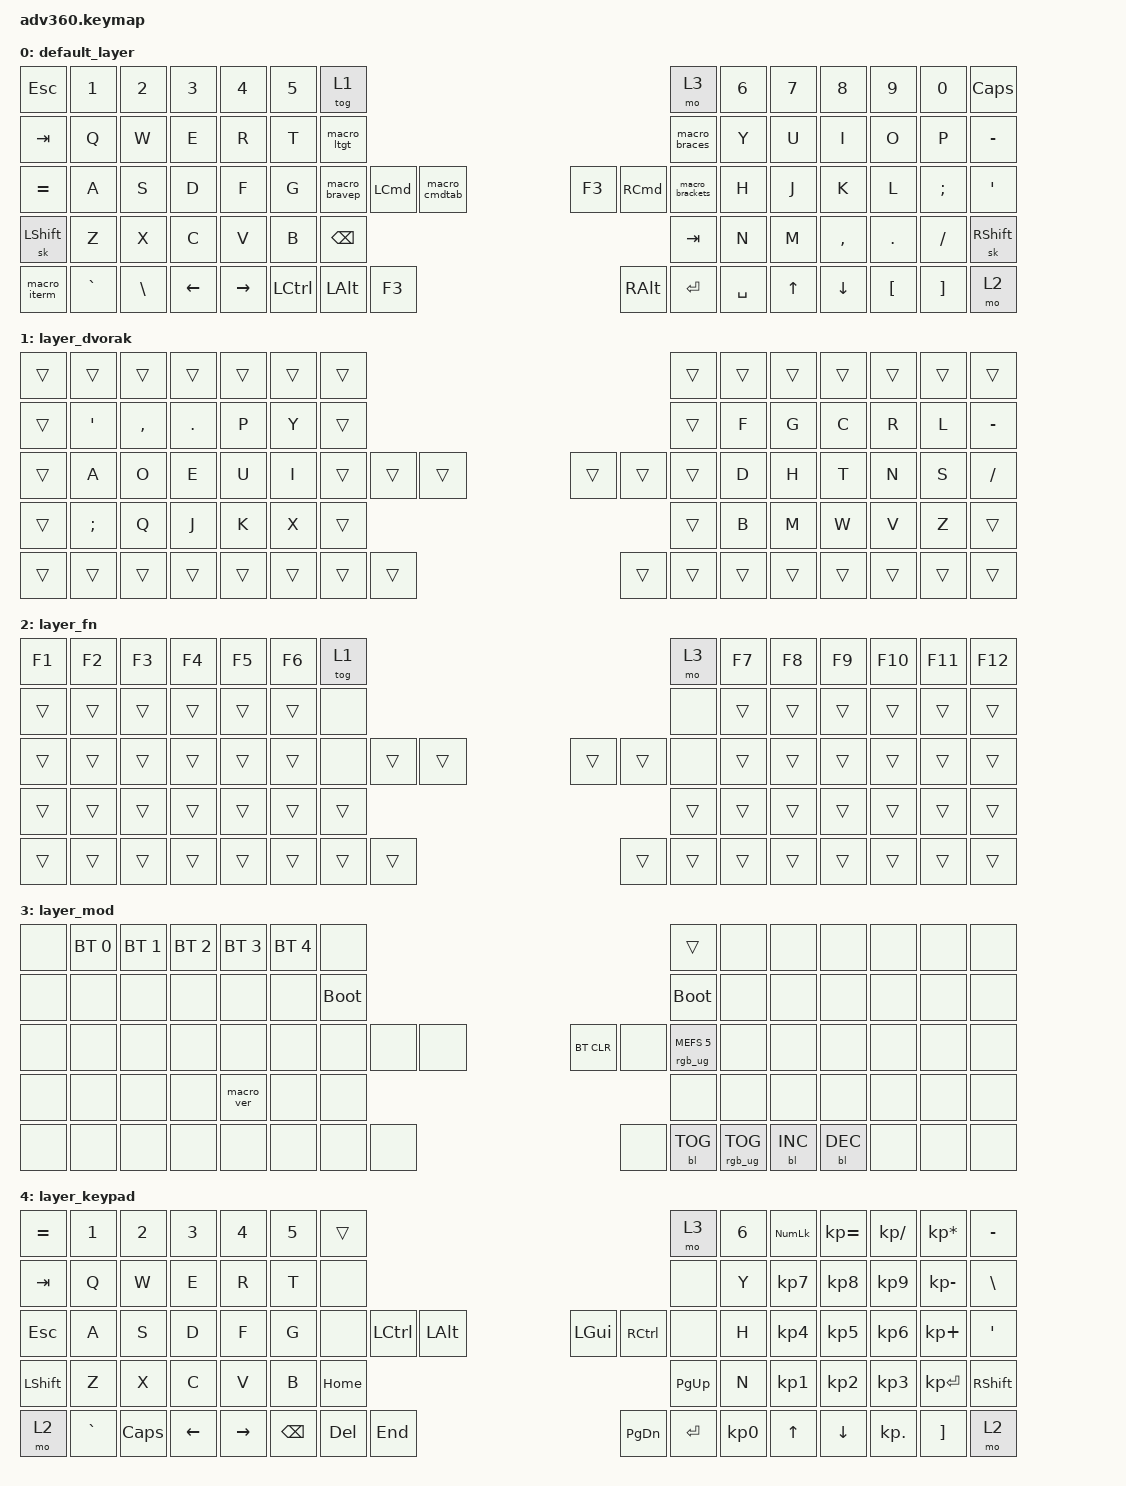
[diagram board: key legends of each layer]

/*
 * Copyright (c) 2020 The ZMK Contributors
 *
 * SPDX-License-Identifier: MIT
 */


/* THIS FILE WAS GENERATED!
 *
 * This file was generated automatically. You may or may not want to
 * edit it directly.
 */

#include <behaviors.dtsi>
#include <dt-bindings/zmk/keys.h>
#include <dt-bindings/zmk/bt.h>
#include <dt-bindings/zmk/rgb.h>
#include <dt-bindings/zmk/backlight.h>

/ {
  behaviors {
    #include "macros.dtsi"
    #include "version.dtsi"

    hm: homerow_mods {
        compatible = "zmk,behavior-hold-tap";
        label = "HOMEROW_MODS";
        #binding-cells = <2>;
        tapping-term-ms = <200>;
        quick_tap_ms = <175>;
        flavor = "tap-preferred";
        bindings = <&kp>, <&kp>;
    };
  };

    keymap {
        compatible = "zmk,keymap";


        default_layer {
            bindings = <
       &kp ESCAPE     &kp N1         &kp N2    &kp N3     &kp N4  &kp N5                      &tog 1                                                                                   &mo 3  &kp N6  &kp N7     &kp N8    &kp N9    &kp N0  &kp CAPSLOCK
          &kp TAB      &kp Q          &kp W     &kp E      &kp R   &kp T                 &macro_ltgt                                                                           &macro_braces   &kp Y   &kp U      &kp I     &kp O     &kp P     &kp MINUS
        &kp EQUAL      &kp A          &kp S     &kp D      &kp F   &kp G              &macro_bravep       &kp LCMD  &macro_cmdtab                         &kp F3   &kp RCMD  &macro_brackets   &kp H   &kp J      &kp K     &kp L  &kp SEMI       &kp SQT
        &sk LSHFT      &kp Z          &kp X     &kp C      &kp V   &kp B                                            &kp BACKSPACE                        &kp TAB                               &kp N   &kp M  &kp COMMA   &kp DOT  &kp FSLH     &sk RSHFT
 &macro_iterm  &kp GRAVE  &kp BACKSLASH  &kp LEFT  &kp RIGHT                    &kp LEFT_CONTROL  &kp LEFT_ALT         &kp F3                  &kp RIGHT_ALT  &kp ENTER        &kp SPACE          &kp UP   &kp DOWN  &kp LBKT  &kp RBKT         &mo 2
            >;
        };

        layer_dvorak {
            bindings = <
 &trans    &trans     &trans   &trans  &trans  &trans            &trans                                                  &trans  &trans  &trans  &trans  &trans  &trans     &trans
 &trans   &kp SQT  &kp COMMA  &kp DOT   &kp P   &kp Y            &trans                                                  &trans   &kp F   &kp G   &kp C   &kp R   &kp L  &kp MINUS
 &trans     &kp A      &kp O    &kp E   &kp U   &kp I            &trans  &trans  &trans                  &trans  &trans  &trans   &kp D   &kp H   &kp T   &kp N   &kp S   &kp FSLH
 &trans  &kp SEMI      &kp Q    &kp J   &kp K   &kp X                            &trans                  &trans                   &kp B   &kp M   &kp W   &kp V   &kp Z     &trans
 &trans    &trans     &trans   &trans  &trans                    &trans  &trans  &trans                  &trans  &trans  &trans          &trans  &trans  &trans  &trans     &trans
            >;
        };

        layer_fn {
            bindings = <
 &kp F1  &kp F2  &kp F3  &kp F4  &kp F5  &kp F6            &tog 1                                                   &mo 3  &kp F7  &kp F8  &kp F9  &kp F10  &kp F11  &kp F12
 &trans  &trans  &trans  &trans  &trans  &trans             &none                                                   &none  &trans  &trans  &trans   &trans   &trans   &trans
 &trans  &trans  &trans  &trans  &trans  &trans             &none  &trans  &trans                  &trans  &trans   &none  &trans  &trans  &trans   &trans   &trans   &trans
 &trans  &trans  &trans  &trans  &trans  &trans                            &trans                  &trans                  &trans  &trans  &trans   &trans   &trans   &trans
 &trans  &trans  &trans  &trans  &trans                    &trans  &trans  &trans                  &trans  &trans  &trans          &trans  &trans   &trans   &trans   &trans
            >;
        };

        layer_mod {
            bindings = <
  &none  &bt BT_SEL 0  &bt BT_SEL 1  &bt BT_SEL 2  &bt BT_SEL 3  &bt BT_SEL 4                  &none                                                                          &trans   &none       &none       &none   &none   &none   &none
  &none         &none         &none         &none         &none         &none            &bootloader                                                                     &bootloader   &none       &none       &none   &none   &none   &none
  &none         &none         &none         &none         &none         &none                  &none   &none   &none                  &bt BT_CLR       &none  &rgb_ug RGB_MEFS_CMD 5   &none       &none       &none   &none   &none   &none
  &none         &none         &none         &none    &macro_ver         &none                                  &none                       &none                                       &none       &none       &none   &none   &none   &none
  &none         &none         &none         &none         &none                                &none   &none   &none                       &none  &bl BL_TOG         &rgb_ug RGB_TOG          &bl BL_INC  &bl BL_DEC   &none   &none   &none
            >;
        };

        layer_keypad {
            bindings = <
 &kp EQUAL     &kp N1    &kp N2    &kp N3     &kp N4  &kp N5              &trans                                                                 &mo 3  &kp N6  &kp KP_NUM  &kp KP_EQUAL  &kp KP_DIVIDE  &kp KP_MULTIPLY  &kp MINUS
   &kp TAB      &kp Q     &kp W     &kp E      &kp R   &kp T               &none                                                                 &none   &kp Y   &kp KP_N7     &kp KP_N8      &kp KP_N9     &kp KP_MINUS   &kp BSLH
   &kp ESC      &kp A     &kp S     &kp D      &kp F   &kp G               &none  &kp LCTRL  &kp LALT                   &kp LGUI  &kp RCTRL      &none   &kp H   &kp KP_N4     &kp KP_N5      &kp KP_N6      &kp KP_PLUS    &kp SQT
 &kp LSHFT      &kp Z     &kp X     &kp C      &kp V   &kp B                                 &kp HOME                  &kp PG_UP                         &kp N   &kp KP_N1     &kp KP_N2      &kp KP_N3     &kp KP_ENTER  &kp RSHFT
     &mo 2  &kp GRAVE  &kp CAPS  &kp LEFT  &kp RIGHT                    &kp BSPC    &kp DEL   &kp END                  &kp PG_DN  &kp ENTER  &kp KP_N0              &kp UP      &kp DOWN     &kp KP_DOT         &kp RBKT      &mo 2
            >;
        };

    };
};
